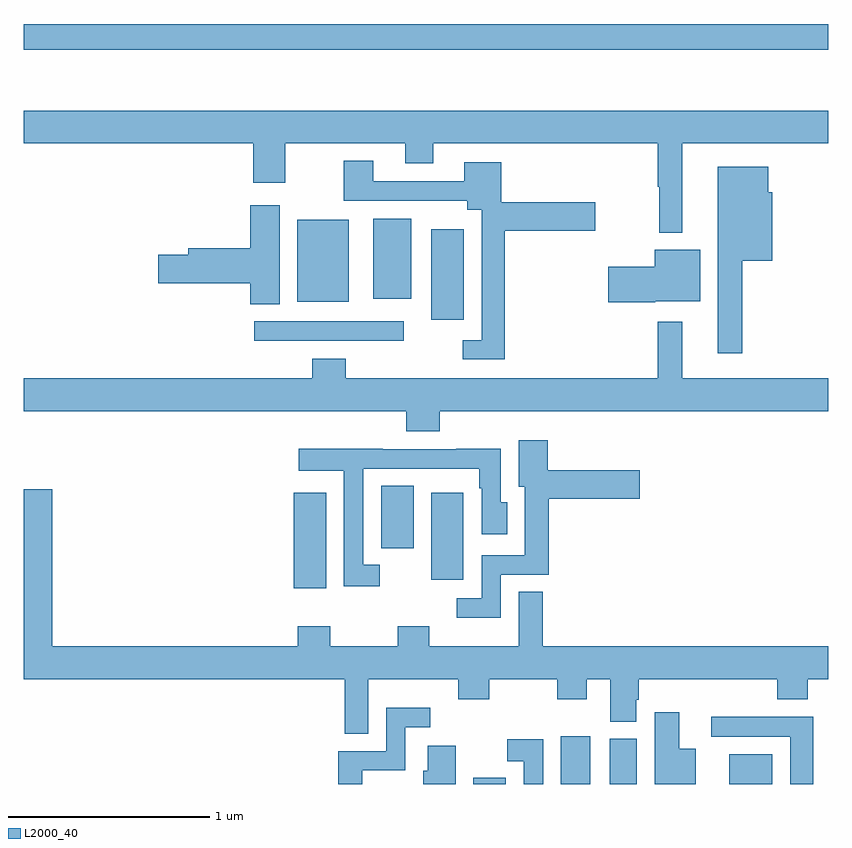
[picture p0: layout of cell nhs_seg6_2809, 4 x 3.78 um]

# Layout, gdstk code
import gdstk
lib = gdstk.Library(unit=1e-6, precision=1e-09)
def R(c, l, rs):  # rectangles x0, y0, x1, y1
    for r in rs: c.add(gdstk.rectangle(r[:2], r[2:], *l))
def P(c, l, *ps):  # polygons
    for p in ps: c.add(gdstk.Polygon(p, *l))
L2000_40 = (2000, 40)

nhs_seg6_2809 = lib.new_cell('nhs_seg6_2809')
R(nhs_seg6_2809, L2000_40, [(279.236,929.5,279.397,929.532), (279.671,929.5,279.817,929.737), (279.914,929.5,280.048,929.724), (280.508,929.5,280.72,929.647), (278.342,930.474,278.503,930.949), (279.026,930.516,279.184,930.949), (278.777,930.672,278.938,930.983), (278.145,931.704,278.89,931.8), (279.026,931.809,279.187,932.257), (278.36,931.898,278.617,932.305), (278.738,931.913,278.926,932.311), (277,933.15,281,933.278)])
P(nhs_seg6_2809, L2000_40, [(280.273,932.684),(281,932.684),(281,932.848),(277,932.848),(277,932.684),(278.141,932.684),(278.141,932.49),(278.301,932.49),(278.301,932.684),(278.897,932.684),(278.897,932.585),(279.037,932.585),(279.037,932.684),(280.152,932.684),(280.152,932.468),(280.159,932.468),(280.159,932.24),(280.273,932.24)],
  [(279.392,932.249),(279.841,932.249),(279.841,932.391),(279.373,932.391),(279.373,932.59),(279.191,932.59),(279.191,932.496),(278.737,932.496),(278.737,932.599),(278.59,932.599),(278.59,932.4),(279.206,932.4),(279.206,932.354),(279.276,932.354),(279.276,931.707),(279.183,931.707),(279.183,931.611),(279.392,931.611)],
  [(280.573,932.102),(280.72,932.102),(280.72,932.442),(280.702,932.442),(280.702,932.569),(280.451,932.569),(280.451,931.641),(280.573,931.641)],
  [(278.272,932.377),(278.126,932.377),(278.126,932.162),(277.817,932.162),(277.817,932.132),(277.668,932.132),(277.668,931.99),(278.126,931.99),(278.126,931.885),(278.272,931.885)],
  [(280.14,931.901),(280.363,931.901),(280.363,932.155),(280.136,932.155),(280.136,932.072),(279.906,932.072),(279.906,931.894),(280.14,931.894)],
  [(279.068,931.352),(281,931.352),(281,931.516),(280.273,931.516),(280.273,931.798),(280.152,931.798),(280.152,931.516),(278.6,931.516),(278.6,931.615),(278.435,931.615),(278.435,931.516),(277,931.516),(277,931.352),(278.903,931.352),(278.903,931.253),(279.068,931.253)],
  [(279.372,930.54),(279.61,930.54),(279.61,930.917),(280.063,930.917),(280.063,931.059),(279.605,931.059),(279.605,931.21),(279.461,931.21),(279.461,930.977),(279.491,930.977),(279.491,930.636),(279.276,930.636),(279.276,930.423),(279.153,930.423),(279.153,930.326),(279.372,930.326)],
  [(278.77,930.591),(278.688,930.591),(278.688,931.068),(279.264,931.068),(279.264,930.971),(279.276,930.971),(279.276,930.741),(279.403,930.741),(279.403,930.9),(279.372,930.9),(279.372,931.166),(279.151,931.166),(279.151,931.164),(278.785,931.164),(278.785,931.166),(278.367,931.166),(278.367,931.058),(278.592,931.058),(278.592,930.483),(278.77,930.483)],
  [(279.58,930.455),(279.461,930.455),(279.461,930.184),(279.015,930.184),(279.015,930.283),(278.86,930.283),(278.86,930.184),(278.523,930.184),(278.523,930.283),(278.363,930.283),(278.363,930.184),(277.142,930.184),(277.142,930.964),(277,930.964),(277,930.02),(278.595,930.02),(278.595,929.749),(278.713,929.749),(278.713,930.02),(279.16,930.02),(279.16,929.921),(279.315,929.921),(279.315,930.02),(279.652,930.02),(279.652,929.921),(279.799,929.921),(279.799,930.02),(279.917,930.02),(279.917,929.809),(280.045,929.809),(280.045,929.919),(280.058,929.919),(280.058,930.02),(280.745,930.02),(280.745,929.921),(280.897,929.921),(280.897,930.02),(281,930.02),(281,930.184),(279.58,930.184)],
  [(278.683,929.568),(278.898,929.568),(278.898,929.781),(279.022,929.781),(279.022,929.878),(278.802,929.878),(278.802,929.664),(278.565,929.664),(278.565,929.5),(278.683,929.5)],
  [(280.342,929.674),(280.258,929.674),(280.258,929.857),(280.136,929.857),(280.136,929.5),(280.342,929.5)],
  [(280.924,929.834),(280.419,929.834),(280.419,929.736),(280.811,929.736),(280.811,929.5),(280.924,929.5)],
  [(279.582,929.722),(279.405,929.722),(279.405,929.613),(279.486,929.613),(279.486,929.5),(279.582,929.5)],
  [(279.148,929.689),(279.008,929.689),(279.008,929.565),(278.987,929.565),(278.987,929.5),(279.148,929.5)])

lib.write_gds('nhs_seg6_2809.gds')
